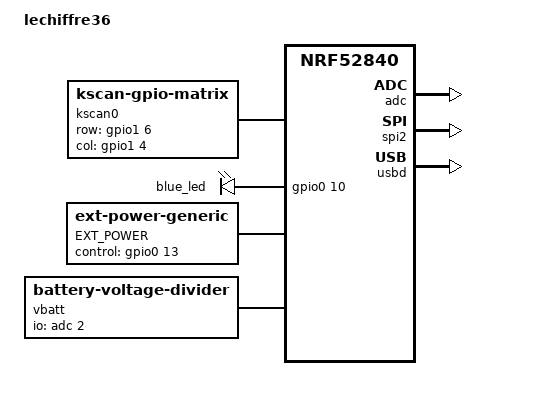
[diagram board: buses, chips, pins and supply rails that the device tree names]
/*
 * Copyright (c) 2023 ZitaoTech
 *
 * SPDX-License-Identifier: MIT
 */

/dts-v1/;
#include <nordic/nrf52840_qiaa.dtsi>

#include <dt-bindings/led/led.h>
#include <dt-bindings/zmk/matrix_transform.h>
#include "LeChiffre36-pinctrl.dtsi"

/ {
    model = "lechiffre36";
    compatible = "ZitaoTech,lechiffre36";

    chosen {
        zephyr,code-partition = &code_partition;
        zephyr,sram = &sram0;
        zephyr,flash = &flash0;
        zephyr,console = &cdc_acm_uart;
        zmk,battery = &vbatt;
        zmk,kscan = &kscan0;
        zmk,matrix_transform = &default_transform;
    };


    default_transform: keymap_transform_0 {
        compatible = "zmk,matrix-transform";
        columns = <1>;
        rows = <1>;
        map = <
        RC(0,0)
        >;
    };
    
    kscan0: kscan {
        compatible = "zmk,kscan-gpio-matrix";
        diode-direction = "col2row";
        row-gpios
            = <&gpio1 6 (GPIO_ACTIVE_HIGH | GPIO_PULL_DOWN)>
            ;
        col-gpios
            = <&gpio1 4  GPIO_ACTIVE_HIGH>
            ;
    };

    leds {
        compatible = "gpio-leds";
        blue_led: led_0 {
            gpios = <&gpio0 10 GPIO_ACTIVE_HIGH>;
        };
    };

    // Node name must match original "EXT_POWER" label to preserve user settings.
    EXT_POWER {
        compatible = "zmk,ext-power-generic";
        control-gpios = <&gpio0 13 GPIO_ACTIVE_HIGH>;
    };

    vbatt: vbatt {
        compatible = "zmk,battery-voltage-divider";
        io-channels = <&adc 2>;
        output-ohms = <2000000>;
        full-ohms = <(2000000 + 820000)>;
    };
};

&adc {
    status = "okay";
};

&gpiote {
    status = "okay";
};

&gpio0 {
    status = "okay";
};

&gpio1 {
    status = "okay";
};

&spi2 {
  compatible = "nordic,nrf-spim";
  status = "okay";

  pinctrl-0 = <&spi2_default>;
  pinctrl-1 = <&spi2_sleep>;
  pinctrl-names = "default", "sleep";
};

&usbd {
    status = "okay";
    cdc_acm_uart: cdc_acm_uart {
        compatible = "zephyr,cdc-acm-uart";
    };
};

&flash0 {
    /*
     * For more information, see:
     * http://docs.zephyrproject.org/latest/devices/dts/flash_partitions.html
     */
    partitions {
        compatible = "fixed-partitions";
        #address-cells = <1>;
        #size-cells = <1>;

        sd_partition: partition@0 {
            reg = <0x00000000 0x00001000>;
        };

        code_partition: partition@1000 {
            reg = <0x00001000 0x000d3000>;
        };

        /*
         * The flash starting at 0x000d4000 and ending at
         * 0x000f3fff is reserved for use by the application.
         */

        /*
         * Storage partition will be used by FCB/LittleFS/NVS
         * if enabled.
         */
        storage_partition: partition@d4000 {
            reg = <0x000d4000 0x00020000>;
        };

        boot_partition: partition@f4000 {
            reg = <0x000f4000 0x0000c000>;
        };
    };
};
